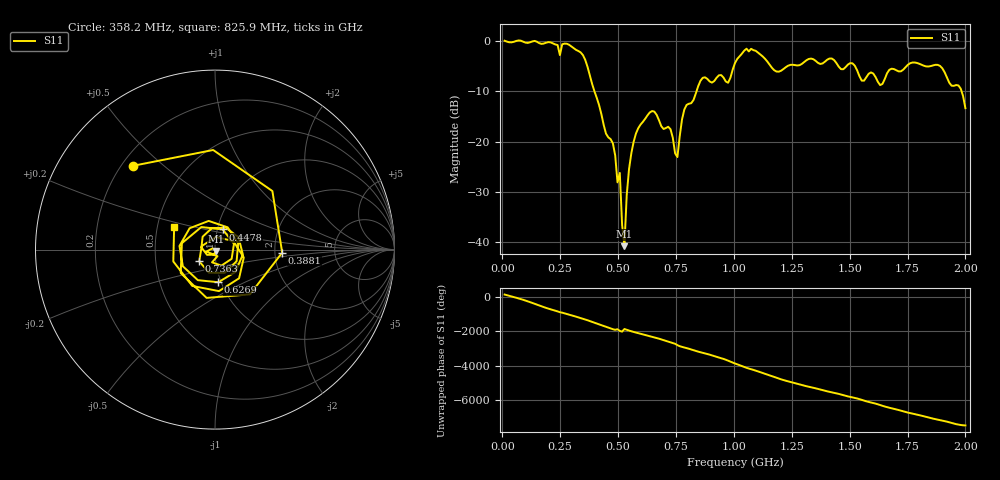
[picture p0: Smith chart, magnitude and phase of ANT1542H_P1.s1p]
!Created with skrf (http://scikit-rf.org).
# Hz S RI R 50.0
!freq ReS11 ImS11
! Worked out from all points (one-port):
!   201 points, 10 MHz to 2 GHz, reference 50 ohm
!   lowest |S11| = -40.8 dB at 527.4 MHz (marker M1), VSWR 1.02, Z = 50.5 - j0.764 ohm
!   |S11| at or under -10 dB: 398.1 MHz to 838.6 MHz (440.5 MHz wide, 71.2 % of centre); 1.984 GHz to end of sweep
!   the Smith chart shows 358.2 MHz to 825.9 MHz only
!   S11 on the Smith chart (normalised r, x): 358.2 MHz: 0.25, +0.40; 388.1 MHz: 2.19, -0.09; 447.8 MHz: 1.06, +0.24; 626.9 MHz: 0.97, -0.36; 736.4 MHz: 0.83, -0.11; 825.9 MHz: 0.61, +0.17
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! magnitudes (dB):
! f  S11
! 10 MHz  0.1
! 258.8 MHz  -0.6
! 358.2 MHz  -3.7
! 388.1 MHz  -8.5
! 447.8 MHz  -18.4
! 477.6 MHz  -20.3
! 497.6 MHz  -28.1
! 507.5 MHz  -26.2
! 517.5 MHz  -36.6
! 527.4 MHz  -40.8
! 537.4 MHz  -30.7
! 557.2 MHz  -22.3
! 626.9 MHz  -14.8
! 736.4 MHz  -19.2
! 756.2 MHz  -23.1
! 786.1 MHz  -13.6
! 825.9 MHz  -11.7
! 865.7 MHz  -7.3
! 975.1 MHz  -8.3
! 1.005 GHz  -4.3
! 1.075 GHz  -1.5
! 1.184 GHz  -6.0
! 1.254 GHz  -4.7
! 1.502 GHz  -4.4
! 1.632 GHz  -8.7
! 1.751 GHz  -4.7
! 1.891 GHz  -4.9
! 2 GHz  -13.3
